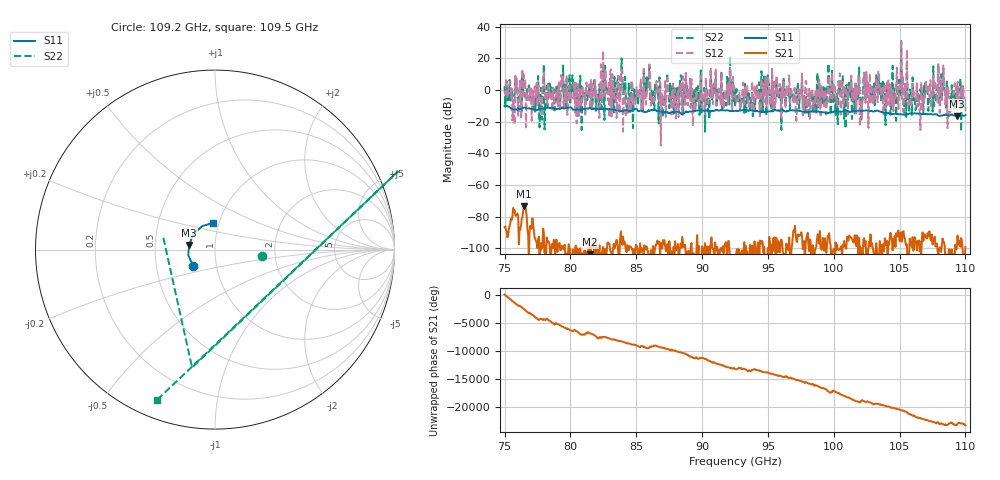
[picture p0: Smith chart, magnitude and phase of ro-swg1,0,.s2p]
!Created with skrf (http://scikit-rf.org).
# GHz S RI R 50.0
!freq ReS11 ImS11 ReS21 ImS21 ReS12 ImS12 ReS22 ImS22
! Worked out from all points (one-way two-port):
!   647 points, 75 GHz to 110 GHz, reference 50 ohm
!   highest |S21| = -73.39 dB at 76.47 GHz (marker M1); lowest = -124.8 dB at 81.5 GHz (marker M2)
!   lowest |S11| = -16.7 dB at 109.3 GHz (marker M3), VSWR 1.34, Z = 37.4 + j2 ohm
!   |S11| at or under -10 dB: 75.08 GHz to end of sweep
!   |S22| runs from -26.4 to 30.9 dB; largest |S21 - S12| = 37
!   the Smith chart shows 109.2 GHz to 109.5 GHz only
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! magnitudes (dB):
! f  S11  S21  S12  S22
! 75 GHz  -10.0  -86.7  -1.0  2.4
! 76.14 GHz  -12.0  -87.5  -10.6  0.8
! 76.47 GHz  -11.1  -73.4  9.6  -1.6
! 80.85 GHz  -12.3  -102.9  -7.7  -25.3
! 81.5 GHz  -11.2  -124.8  -12.2  3.5
! 83.78 GHz  -13.5  -93.7  5.3  -4.2
! 84.16 GHz  -12.9  -97.6  -0.5  8.5
! 85.89 GHz  -13.3  -101.7  -0.4  7.6
! 86.7 GHz  -13.5  -97.5  -4.0  -21.2
! 92.5 GHz  -13.2  -106.3  -3.2  -10.5
! 98.35 GHz  -13.7  -102.5  0.4  -4.9
! 99.54 GHz  -14.6  -92.1  -7.8  3.8
! 100.1 GHz  -13.7  -96.3  -3.8  -15.8
! 101.5 GHz  -13.2  -94.4  -2.1  -6.4
! 103.4 GHz  -13.3  -118.5  12.2  8.6
! 104.2 GHz  -14.8  -97.8  3.3  -0.9
! 105.1 GHz  -15.4  -90.0  31.3  30.9
! 106.1 GHz  -14.7  -100.3  -1.4  -3.9
! 108.3 GHz  -16.1  -93.9  4.6  2.4
! 108.8 GHz  -16.2  -103.7  -16.0  -6.1
! 109.3 GHz  -16.7  -100.2  -10.4  -10.6
! 110 GHz  -15.9  -99.2  -12.8  -13.8
